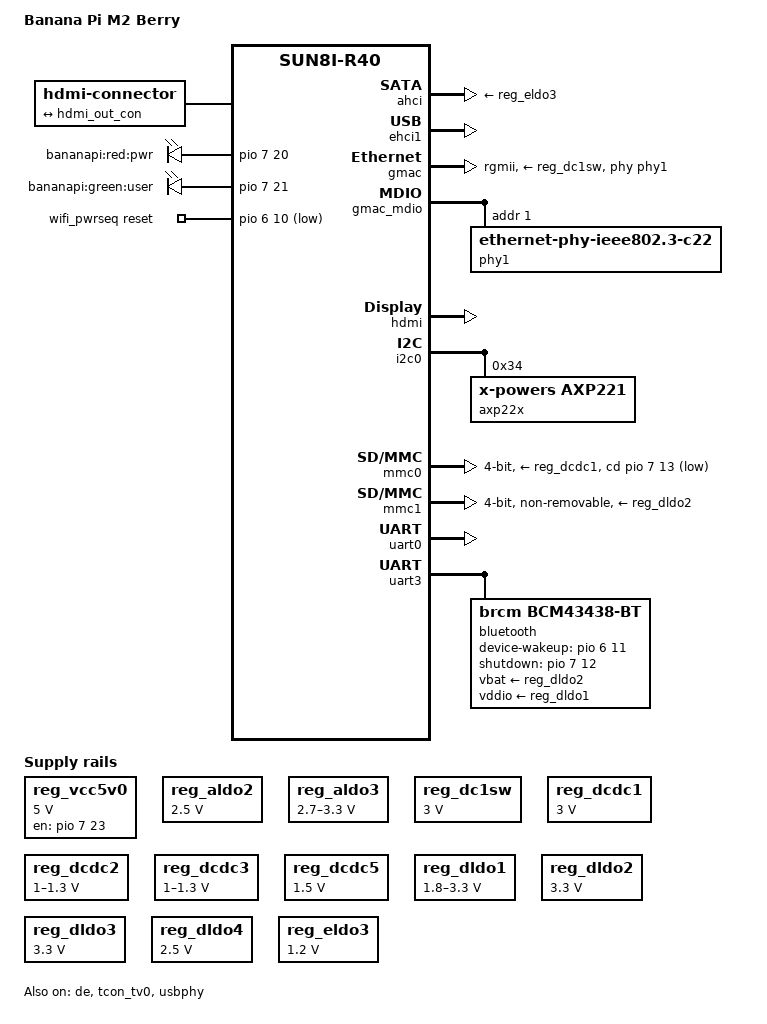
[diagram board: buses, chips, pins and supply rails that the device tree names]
/*
 * Copyright (C) 2017 Icenowy Zheng <icenowy@aosc.io>
 *
 * This file is dual-licensed: you can use it either under the terms
 * of the GPL or the X11 license, at your option. Note that this dual
 * licensing only applies to this file, and not this project as a
 * whole.
 *
 *  a) This file is free software; you can redistribute it and/or
 *     modify it under the terms of the GNU General Public License as
 *     published by the Free Software Foundation; either version 2 of the
 *     License, or (at your option) any later version.
 *
 *     This file is distributed in the hope that it will be useful,
 *     but WITHOUT ANY WARRANTY; without even the implied warranty of
 *     MERCHANTABILITY or FITNESS FOR A PARTICULAR PURPOSE.  See the
 *     GNU General Public License for more details.
 *
 * Or, alternatively,
 *
 *  b) Permission is hereby granted, free of charge, to any person
 *     obtaining a copy of this software and associated documentation
 *     files (the "Software"), to deal in the Software without
 *     restriction, including without limitation the rights to use,
 *     copy, modify, merge, publish, distribute, sublicense, and/or
 *     sell copies of the Software, and to permit persons to whom the
 *     Software is furnished to do so, subject to the following
 *     conditions:
 *
 *     The above copyright notice and this permission notice shall be
 *     included in all copies or substantial portions of the Software.
 *
 *     THE SOFTWARE IS PROVIDED "AS IS", WITHOUT WARRANTY OF ANY KIND,
 *     EXPRESS OR IMPLIED, INCLUDING BUT NOT LIMITED TO THE WARRANTIES
 *     OF MERCHANTABILITY, FITNESS FOR A PARTICULAR PURPOSE AND
 *     NONINFRINGEMENT. IN NO EVENT SHALL THE AUTHORS OR COPYRIGHT
 *     HOLDERS BE LIABLE FOR ANY CLAIM, DAMAGES OR OTHER LIABILITY,
 *     WHETHER IN AN ACTION OF CONTRACT, TORT OR OTHERWISE, ARISING
 *     FROM, OUT OF OR IN CONNECTION WITH THE SOFTWARE OR THE USE OR
 *     OTHER DEALINGS IN THE SOFTWARE.
 */

/dts-v1/;
#include "sun8i-r40.dtsi"

#include <dt-bindings/gpio/gpio.h>

/ {
	model = "Banana Pi M2 Berry";
	compatible = "sinovoip,bpi-m2-berry", "allwinner,sun8i-r40";

	aliases {
		ethernet0 = &gmac;
		serial0 = &uart0;
	};

	chosen {
		stdout-path = "serial0:115200n8";
	};

	connector {
		compatible = "hdmi-connector";
		type = "a";

		port {
			hdmi_con_in: endpoint {
				remote-endpoint = <&hdmi_out_con>;
			};
		};
	};

	leds {
		compatible = "gpio-leds";

		pwr-led {
			label = "bananapi:red:pwr";
			gpios = <&pio 7 20 GPIO_ACTIVE_HIGH>;
			default-state = "on";
		};

		user-led {
			label = "bananapi:green:user";
			gpios = <&pio 7 21 GPIO_ACTIVE_HIGH>;
		};
	};

	reg_vcc5v0: vcc5v0 {
		compatible = "regulator-fixed";
		regulator-name = "vcc5v0";
		regulator-min-microvolt = <5000000>;
		regulator-max-microvolt = <5000000>;
		gpio = <&pio 7 23 GPIO_ACTIVE_HIGH>; /* PH23 */
		enable-active-high;
	};

	wifi_pwrseq: wifi_pwrseq {
		compatible = "mmc-pwrseq-simple";
		reset-gpios = <&pio 6 10 GPIO_ACTIVE_LOW>; /* PG10 WIFI_EN */
		clocks = <&ccu CLK_OUTA>;
		clock-names = "ext_clock";
	};
};

&ahci {
	ahci-supply = <&reg_dldo4>;
	phy-supply = <&reg_eldo3>;
	status = "okay";
};

&de {
	status = "okay";
};

&ehci1 {
	/* Terminus Tech FE 1.1s 4-port USB 2.0 hub here */
	status = "okay";
};

&gmac {
	pinctrl-names = "default";
	pinctrl-0 = <&gmac_rgmii_pins>;
	phy-handle = <&phy1>;
	phy-mode = "rgmii";
	phy-supply = <&reg_dc1sw>;
	status = "okay";
};

&gmac_mdio {
	phy1: ethernet-phy@1 {
		compatible = "ethernet-phy-ieee802.3-c22";
		reg = <1>;
	};
};

&hdmi {
	status = "okay";
};

&hdmi_out {
	hdmi_out_con: endpoint {
		remote-endpoint = <&hdmi_con_in>;
	};
};

&i2c0 {
	status = "okay";

	axp22x: pmic@34 {
		compatible = "x-powers,axp221";
		reg = <0x34>;
		interrupt-parent = <&nmi_intc>;
		interrupts = <0 IRQ_TYPE_LEVEL_LOW>;
	};
};

#include "axp22x.dtsi"

&mmc0 {
	vmmc-supply = <&reg_dcdc1>;
	bus-width = <4>;
	cd-gpios = <&pio 7 13 GPIO_ACTIVE_LOW>; /* PH13 */
	status = "okay";
};

&mmc1 {
	pinctrl-names = "default";
	pinctrl-0 = <&mmc1_pg_pins>;
	vmmc-supply = <&reg_dldo2>;
	vqmmc-supply = <&reg_dldo1>;
	mmc-pwrseq = <&wifi_pwrseq>;
	bus-width = <4>;
	non-removable;
	status = "okay";
};

&pio {
	pinctrl-names = "default";
	pinctrl-0 = <&clk_out_a_pin>;
	vcc-pa-supply = <&reg_aldo2>;
	vcc-pc-supply = <&reg_dcdc1>;
	vcc-pd-supply = <&reg_dcdc1>;
	vcc-pe-supply = <&reg_eldo1>;
	vcc-pf-supply = <&reg_dcdc1>;
	vcc-pg-supply = <&reg_dldo1>;
};

&reg_aldo2 {
	regulator-min-microvolt = <2500000>;
	regulator-max-microvolt = <2500000>;
	regulator-name = "vcc-pa";
};

&reg_aldo3 {
	regulator-always-on;
	regulator-min-microvolt = <2700000>;
	regulator-max-microvolt = <3300000>;
	regulator-name = "avcc";
};

&reg_dc1sw {
	regulator-min-microvolt = <3000000>;
	regulator-max-microvolt = <3000000>;
	regulator-name = "vcc-gmac-phy";
};

&reg_dcdc1 {
	regulator-always-on;
	regulator-min-microvolt = <3000000>;
	regulator-max-microvolt = <3000000>;
	regulator-name = "vcc-3v0";
};

&reg_dcdc2 {
	regulator-always-on;
	regulator-min-microvolt = <1000000>;
	regulator-max-microvolt = <1300000>;
	regulator-name = "vdd-cpu";
};

&reg_dcdc3 {
	regulator-always-on;
	regulator-min-microvolt = <1000000>;
	regulator-max-microvolt = <1300000>;
	regulator-name = "vdd-sys";
};

&reg_dcdc5 {
	regulator-always-on;
	regulator-min-microvolt = <1500000>;
	regulator-max-microvolt = <1500000>;
	regulator-name = "vcc-dram";
};

&reg_dldo1 {
	regulator-min-microvolt = <1800000>;
	regulator-max-microvolt = <3300000>;
	regulator-name = "vcc-wifi-io";
};

/*
 * Our WiFi chip needs both DLDO2 and DLDO3 to be powered at the same
 * time, with the two being in sync, to be able to meet maximum power
 * consumption during transmits. Since this is not really supported
 * right now, just use the two as always on, and we will fix it later.
 */

&reg_dldo2 {
	regulator-always-on;
	regulator-min-microvolt = <3300000>;
	regulator-max-microvolt = <3300000>;
	regulator-name = "vcc-wifi";
};

&reg_dldo3 {
	regulator-always-on;
	regulator-min-microvolt = <3300000>;
	regulator-max-microvolt = <3300000>;
	regulator-name = "vcc-wifi-2";
};

&reg_dldo4 {
	regulator-min-microvolt = <2500000>;
	regulator-max-microvolt = <2500000>;
	regulator-name = "vdd2v5-sata";
};

&reg_eldo3 {
	regulator-min-microvolt = <1200000>;
	regulator-max-microvolt = <1200000>;
	regulator-name = "vdd1v2-sata";
};

&tcon_tv0 {
	status = "okay";
};

&uart0 {
	pinctrl-names = "default";
	pinctrl-0 = <&uart0_pb_pins>;
	status = "okay";
};

&uart3 {
	pinctrl-names = "default";
	pinctrl-0 = <&uart3_pg_pins>, <&uart3_rts_cts_pg_pins>;
	uart-has-rtscts;
	status = "okay";

	bluetooth {
		compatible = "brcm,bcm43438-bt";
		clocks = <&ccu CLK_OUTA>;
		clock-names = "lpo";
		vbat-supply = <&reg_dldo2>;
		vddio-supply = <&reg_dldo1>;
		device-wakeup-gpios = <&pio 6 11 GPIO_ACTIVE_HIGH>; /* PG11 */
		/* TODO host wake line connected to PMIC GPIO pins */
		shutdown-gpios = <&pio 7 12 GPIO_ACTIVE_HIGH>; /* PH12 */
		max-speed = <1500000>;
	};
};

&usbphy {
	usb1_vbus-supply = <&reg_vcc5v0>;
	status = "okay";
};
